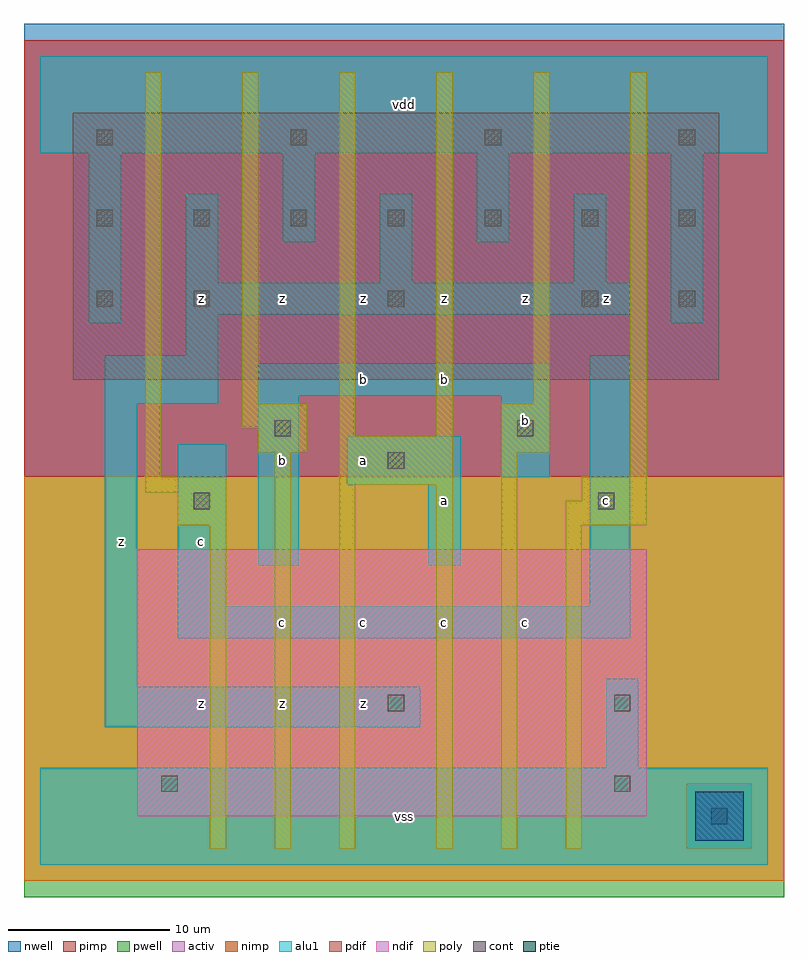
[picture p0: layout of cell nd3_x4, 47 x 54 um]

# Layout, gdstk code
import gdstk
lib = gdstk.Library(unit=1e-6, precision=1e-09)
def R(c, l, rs):  # rectangles x0, y0, x1, y1
    for r in rs: c.add(gdstk.rectangle(r[:2], r[2:], *l))
def A(c, l, x, y, w, h, nx, ny, dx, dy):  # array of equal rectangles
    R(c, l, [(x+i*dx, y+j*dy, x+i*dx+w, y+j*dy+h) for i in range(nx) for j in range(ny)])
ndif = (3, 0)
pdif = (4, 0)
ptie = (6, 0)
cont = (25, 0)
pwell = (41, 0)
nwell = (42, 0)
activ = (43, 0)
pimp = (44, 0)
nimp = (45, 0)
poly = (46, 0)
alu1 = (49, 0)

nd3_x4 = lib.new_cell('nd3_x4')
R(nd3_x4, ndif, [(6,3,37.5,19.5)])
R(nd3_x4, pdif, [(2,30,42,46.5)])
R(nd3_x4, ptie, [(40.5,1.5,43.5,4.5)])
A(nd3_x4, cont, 9.5, 34.5, 1, 1, 3, 1, 12, 0)
A(nd3_x4, cont, 3.5, 39.5, 1, 1, 7, 1, 6, 0)
A(nd3_x4, cont, 3.5, 44.5, 1, 1, 4, 1, 12, 0)
R(nd3_x4, cont, [(41.5,2.5,42.5,3.5), (7.5,4.5,8.5,5.5), (35.5,4.5,36.5,5.5), (21.5,9.5,22.5,10.5), (35.5,9.5,36.5,10.5), (9.5,22,10.5,23), (34.5,22,35.5,23), (21.5,24.5,22.5,25.5), (14.5,26.5,15.5,27.5), (29.5,26.5,30.5,27.5), (3.5,34.5,4.5,35.5), (39.5,34.5,40.5,35.5)])
R(nd3_x4, pwell, [(-1,-2,46,24)])
R(nd3_x4, nwell, [(-1,24,46,52)])
R(nd3_x4, activ, [(40.5,1.5,43.5,4.5), (6,3,37.5,19.5), (2,30,42,46.5)])
R(nd3_x4, pimp, [(40,1,44,5), (-1,24,46,51)])
R(nd3_x4, nimp, [(-1,-1,46,1), (-1,1,40,5), (44,1,46,5), (-1,5,46,24)])
R(nd3_x4, poly, [(10.5,1,11.5,21), (14.5,1,15.5,25.5), (18.5,1,19.5,23.5), (24.5,1,25.5,23.5), (28.5,1,29.5,25.5), (32.5,1,33.5,21), (8.5,21,11.5,23), (32.5,21,37.5,22.5), (33.5,22.5,37.5,24), (6.5,23,11.5,24), (18.5,23.5,25.5,26.5), (6.5,24,7.5,49), (36.5,24,37.5,49), (13.5,25.5,16.5,27), (28.5,25.5,31.5,28.5), (18.5,26.5,19.5,49), (24.5,26.5,25.5,49), (12.5,27,16.5,28.5), (12.5,28.5,13.5,49), (30.5,28.5,31.5,49)])
A(nd3_x4, alu1, 9, 36, 2, 5.5, 3, 1, 12, 0)
R(nd3_x4, alu1, [(0,0,45,6), (35,6,37,11.5), (4,8.5,23.5,11), (4,11,6,28.5), (8.5,14,36.5,16), (8.5,16,11.5,26), (34,16,36.5,31.5), (13.5,18.5,16,29), (24,18.5,26,23.5), (19,23.5,26,26.5), (28.5,24,31.5,29), (4,28.5,11,31.5), (13.5,29,31.5,31), (9,31.5,11,34), (3,33.5,5,44), (39,33.5,41,44), (9,34,36.5,36), (15,38.5,17,44), (27,38.5,29,44), (0,44,45,50)])
nd3_x4.add(gdstk.Label('z', (5,20), layer=49, texttype=0))
nd3_x4.add(gdstk.Label('z', (15,10), layer=49, texttype=0))
nd3_x4.add(gdstk.Label('z', (10,10), layer=49, texttype=0))
nd3_x4.add(gdstk.Label('c', (15,15), layer=49, texttype=0))
nd3_x4.add(gdstk.Label('c', (10,20), layer=49, texttype=0))
nd3_x4.add(gdstk.Label('b', (15,25), layer=49, texttype=0))
nd3_x4.add(gdstk.Label('z', (10,35), layer=49, texttype=0))
nd3_x4.add(gdstk.Label('z', (15,35), layer=49, texttype=0))
nd3_x4.add(gdstk.Label('vss', (22.5,3), layer=49, texttype=0))
nd3_x4.add(gdstk.Label('z', (20,10), layer=49, texttype=0))
nd3_x4.add(gdstk.Label('c', (20,15), layer=49, texttype=0))
nd3_x4.add(gdstk.Label('c', (25,15), layer=49, texttype=0))
nd3_x4.add(gdstk.Label('a', (20,25), layer=49, texttype=0))
nd3_x4.add(gdstk.Label('a', (25,22.5), layer=49, texttype=0))
nd3_x4.add(gdstk.Label('b', (20,30), layer=49, texttype=0))
nd3_x4.add(gdstk.Label('b', (25,30), layer=49, texttype=0))
nd3_x4.add(gdstk.Label('z', (20,35), layer=49, texttype=0))
nd3_x4.add(gdstk.Label('z', (25,35), layer=49, texttype=0))
nd3_x4.add(gdstk.Label('vdd', (22.5,47), layer=49, texttype=0))
nd3_x4.add(gdstk.Label('c', (30,15), layer=49, texttype=0))
nd3_x4.add(gdstk.Label('c', (35,22.5), layer=49, texttype=0))
nd3_x4.add(gdstk.Label('b', (30,27.5), layer=49, texttype=0))
nd3_x4.add(gdstk.Label('z', (30,35), layer=49, texttype=0))
nd3_x4.add(gdstk.Label('z', (35,35), layer=49, texttype=0))

lib.write_gds('nd3_x4.gds')
